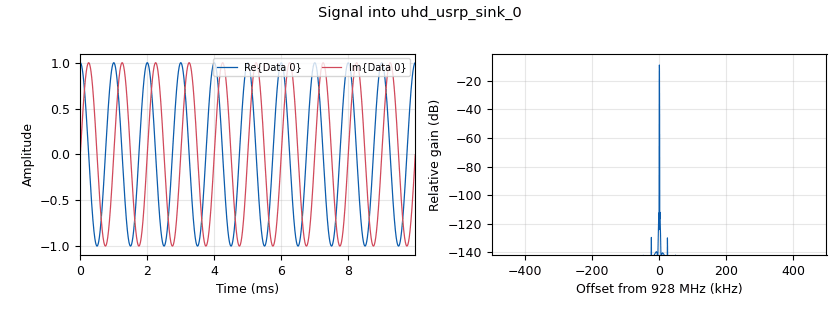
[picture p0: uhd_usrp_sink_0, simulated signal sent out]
<?xml version='1.0' encoding='utf-8'?>
<flow_graph>
<block>
<key>options</key>
<param><key>id</key><value>top_block</value></param>
<param><key>generate_options</key><value>wx_gui</value></param>
<param><key>category</key><value>Custom</value></param>
</block>
<block>
<key>variable</key>
<param><key>id</key><value>samp_rate</value></param>
<param><key>value</key><value>1000000</value></param>
</block>
<block>
<key>variable</key>
<param><key>id</key><value>tx_gain</value></param>
<param><key>value</key><value>20</value></param>
</block>
<block>
<key>const_source_x</key>
<param><key>id</key><value>const_source_x_0</value></param>
<param><key>_enabled</key><value>False</value></param>
<param><key>type</key><value>complex</value></param>
<param><key>const</key><value>1</value></param>
</block>
<block>
<key>uhd_usrp_sink</key>
<param><key>id</key><value>uhd_usrp_sink_0</value></param>
<param><key>type</key><value>fc32</value></param>
<param><key>dev_addr</key><value>addr=192.168.10.139</value></param>
<param><key>sync</key><value></value></param>
<param><key>clock_rate</key><value>0.0</value></param>
<param><key>samp_rate</key><value>samp_rate</value></param>
<param><key>center_freq0</key><value>center_freq</value></param>
<param><key>gain0</key><value>tx_gain</value></param>
<param><key>ant0</key><value></value></param>
</block>
<block>
<key>variable</key>
<param><key>id</key><value>center_freq</value></param>
<param><key>value</key><value>928000000</value></param>
</block>
<block>
<key>analog_sig_source_x</key>
<param><key>id</key><value>analog_sig_source_x_0</value></param>
<param><key>type</key><value>complex</value></param>
<param><key>samp_rate</key><value>samp_rate</value></param>
<param><key>waveform</key><value>analog.GR_COS_WAVE</value></param>
<param><key>freq</key><value>1000</value></param>
<param><key>amp</key><value>1</value></param>
<param><key>offset</key><value>0</value></param>
</block>
<connection><source_block_id>analog_sig_source_x_0</source_block_id><sink_block_id>uhd_usrp_sink_0</sink_block_id><source_key>0</source_key><sink_key>0</sink_key></connection>
</flow_graph>
